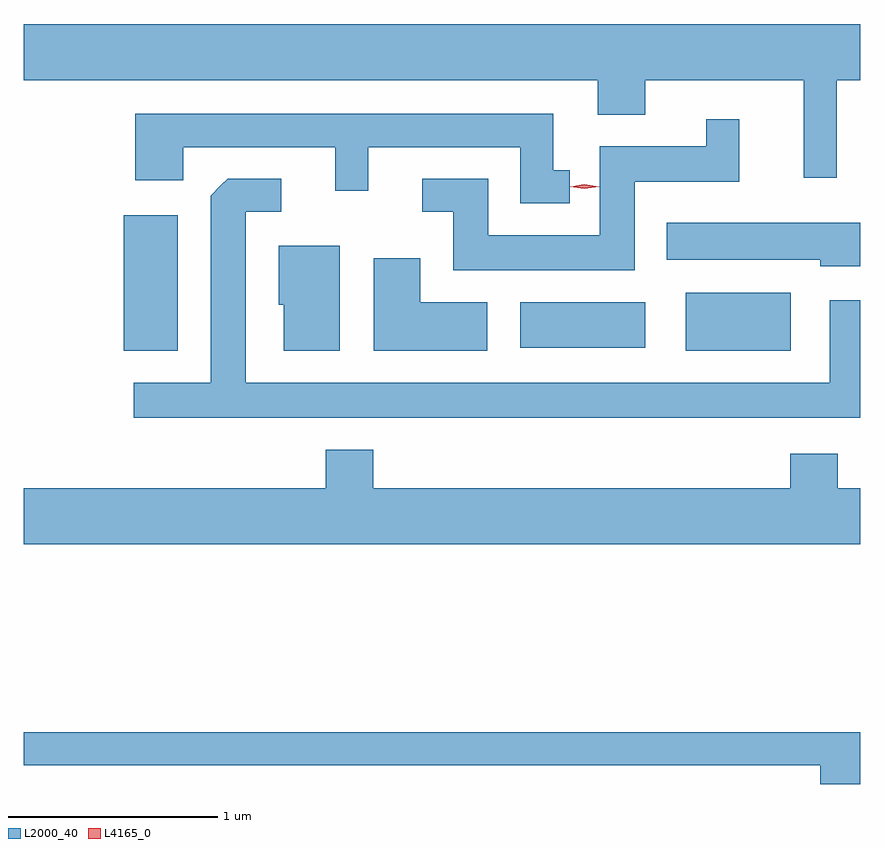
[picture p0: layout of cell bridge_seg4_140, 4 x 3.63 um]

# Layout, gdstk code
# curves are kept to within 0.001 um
import gdstk
lib = gdstk.Library(unit=1e-6, precision=1e-09)
def R(c, l, rs):  # rectangles x0, y0, x1, y1
    for r in rs: c.add(gdstk.rectangle(r[:2], r[2:], *l))
def P(c, l, *ps):  # polygons
    for p in ps: c.add(gdstk.Polygon(p, *l))
L2000_40 = (2000, 40)
L4165_0 = (4165, 0)

bridge_seg4_140 = lib.new_cell('bridge_seg4_140')
R(bridge_seg4_140, L2000_40, [(919.746,1291.221,920.004,1291.869), (922.431,1291.221,922.934,1291.499), (921.641,1291.236,922.239,1291.454)])
P(bridge_seg4_140, L2000_40, [(923.154,1292.516),(923.267,1292.516),(923.267,1292.784),(919.267,1292.784),(919.267,1292.516),(922.011,1292.516),(922.011,1292.351),(922.239,1292.351),(922.239,1292.516),(922.996,1292.516),(922.996,1292.048),(923.154,1292.048)],
  [(921.878,1292.084),(921.799,1292.084),(921.799,1292.354),(919.801,1292.354),(919.801,1292.036),(920.029,1292.036),(920.029,1292.196),(920.756,1292.196),(920.756,1291.988),(920.914,1291.988),(920.914,1292.196),(921.641,1292.196),(921.641,1291.926),(921.878,1291.926)],
  [(922.189,1292.031),(922.689,1292.031),(922.689,1292.328),(922.531,1292.328),(922.531,1292.199),(922.021,1292.199),(922.021,1291.774),(921.489,1291.774),(921.489,1292.044),(921.173,1292.044),(921.173,1291.886),(921.321,1291.886),(921.321,1291.606),(922.189,1291.606)],
  [(923.267,1291.464),(923.121,1291.464),(923.121,1291.069),(920.329,1291.069),(920.329,1291.886),(920.498,1291.886),(920.498,1292.044),(920.242,1292.044),(920.161,1291.964),(920.161,1291.069),(919.793,1291.069),(919.793,1290.901),(923.267,1290.901)],
  [(923.267,1291.834),(922.341,1291.834),(922.341,1291.656),(923.076,1291.656),(923.076,1291.626),(923.267,1291.626)],
  [(920.779,1291.724),(920.486,1291.724),(920.486,1291.441),(920.511,1291.441),(920.511,1291.221),(920.779,1291.221)],
  [(921.484,1291.454),(921.164,1291.454),(921.164,1291.664),(920.941,1291.664),(920.941,1291.221),(921.484,1291.221)],
  [(923.267,1290.564),(923.159,1290.564),(923.159,1290.729),(922.931,1290.729),(922.931,1290.564),(920.939,1290.564),(920.939,1290.749),(920.711,1290.749),(920.711,1290.564),(919.267,1290.564),(919.267,1290.296),(923.267,1290.296)],
  [(923.267,1289.399),(919.267,1289.399),(919.267,1289.241),(923.076,1289.241),(923.076,1289.151),(923.267,1289.151)])
P(bridge_seg4_140, L4165_0, [(921.948,1291.997),(921.879,1292.006),(921.879,1292.007),(921.879,1292.007),(921.948,1292.017),(922.018,1292.007),(922.018,1292.007),(922.018,1292.006)])

lib.write_gds('bridge_seg4_140.gds')
